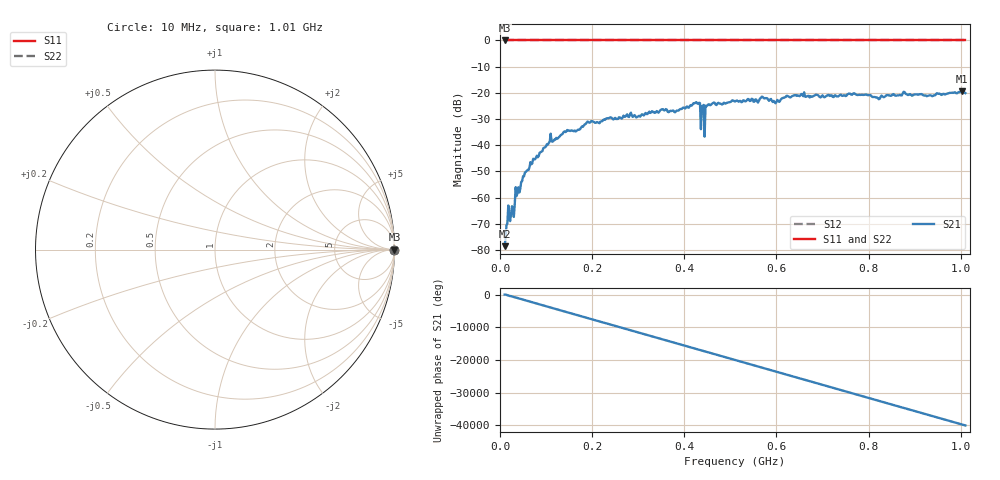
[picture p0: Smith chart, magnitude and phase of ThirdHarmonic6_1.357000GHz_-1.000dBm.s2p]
! 8/16/2025 3:18:33 PM
! C:\ANRITSUVNA\TEMP\TEMP.S2P
! CHANNEL.1
! TR.MEASUREMENT
! RAW.DATA
! RF.CORRECTION.OFF
! AVERAGING.OFF
! IF.BANDWIDTH: 5KHZ
! SWEEPTYPE:  FREQ.SWEEP(Linear)
! Reference Plane Port Info
! PORT:  PORT1  PORT2
! DISTANCE:  0  m  0  m
! TIME:  0  s  0  s
! PHASE.OFFSET:  0  deg.  0  deg.
! LOSS:  0  dB  0  dB
! REF.LOSS:  0  dB  0  dB
! REF.FREQ:  0  Hz  0  Hz
! Power Info
! POWER:  -20  dBm  -20  dBm
! EFF.POWER:  -20  dBm  -20  dBm
! SOURCE.ATTEN:  0  dB  0  dB
! TEST.ATTEN:  0  dB  0  dB
# GHZ S RI R 50.0
! FREQ.GHZ  S11RE  S11IM  S21RE  S21IM  S12RE  S12IM  S22RE  S22IM
!; PortSelection: Port_12
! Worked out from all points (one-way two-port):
!   501 points, 10 MHz to 1.01 GHz, reference 50 ohm
!   highest |S21| = -19.35 dB at 1.002 GHz (marker M1); lowest = -78.6 dB at 10 MHz (marker M2)
!   lowest |S11| = 0.0 dB at 10 MHz (marker M3)
!   |S11| at or under -10 dB: nowhere
!   |S22| runs from 0.0 to 0.0 dB; largest |S21 - S12| = 1.1
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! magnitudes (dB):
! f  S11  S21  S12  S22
! 10 MHz  0.0  -78.6  0.0  0.0
! 16 MHz  0.0  -69.9  0.0  0.0
! 22 MHz  0.0  -69.0  0.0  0.0
! 26 MHz  0.0  -63.3  0.0  0.0
! 36 MHz  0.0  -59.4  0.0  0.0
! 70 MHz  0.0  -47.0  0.0  0.0
! 106 MHz  0.0  -39.1  0.0  0.0
! 178 MHz  0.0  -32.8  0.0  0.0
! 236 MHz  0.0  -29.7  0.0  0.0
! 344 MHz  0.0  -27.6  0.0  0.0
! 382 MHz  0.0  -27.0  0.0  0.0
! 430 MHz  0.0  -24.2  0.0  0.0
! 432 MHz  0.0  -23.8  0.0  0.0
! 438 MHz  0.0  -25.0  0.0  0.0
! 440 MHz  0.0  -25.0  0.0  0.0
! 448 MHz  0.0  -25.2  0.0  0.0
! 450 MHz  0.0  -24.8  0.0  0.0
! 510 MHz  0.0  -23.3  0.0  0.0
! 678 MHz  0.0  -21.5  0.0  0.0
! 844 MHz  0.0  -21.0  0.0  0.0
! 1.002 GHz  0.0  -19.3  0.0  0.0
! 1.01 GHz  0.0  -20.1  0.0  0.0
